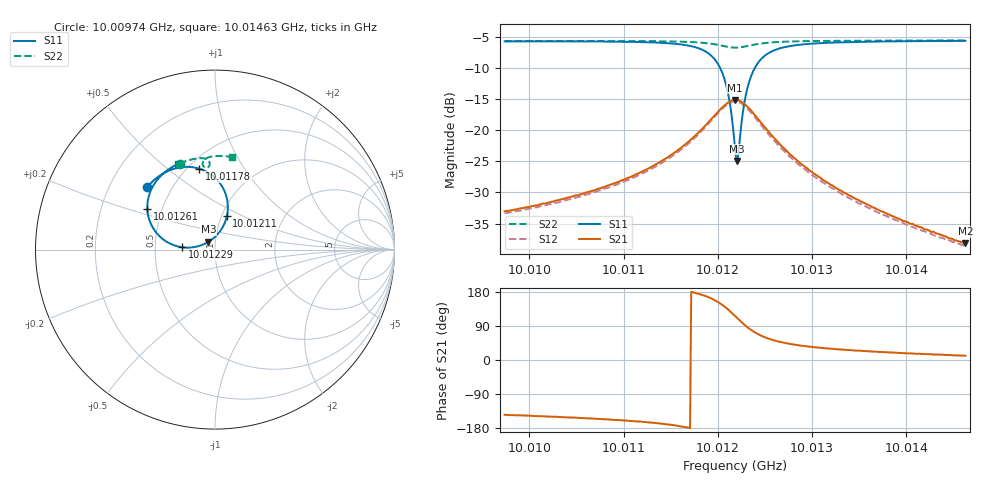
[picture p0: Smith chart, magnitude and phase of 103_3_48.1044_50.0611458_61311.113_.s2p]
#  HZ  S  RI  R  50.00
! Rohde & Schwarz Vector Network Analyzer
! Rohde-Schwarz,ZNB20-2Port,1311601062101988,3.16
! Created: UTC 12/23/2023, 3:45:00 AM
! freq[Hz]  re:S11  im:S11  re:S21  im:S21  re:S12  im:S12  re:S22  im:S22
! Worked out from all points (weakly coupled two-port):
!   401 points, 10.00974 GHz to 10.01463 GHz, reference 50 ohm
!   highest |S21| = -15.16 dB at 10.01218 GHz (marker M1); lowest = -38.1 dB at 10.01463 GHz (marker M2)
!   lowest |S11| = -24.9 dB at 10.01221 GHz (marker M3), VSWR 1.12, Z = 46.3 + j4.03 ohm
!   |S11| at or under -10 dB: 10.01202 GHz to 10.01239 GHz (369.7 kHz wide, 0.00369 % of centre)
!   |S22| runs from -6.8 to -5.6 dB; largest |S21 - S12| = 0.0082
!   S11 on the Smith chart (normalised r, x): 10.00974 GHz: 0.36, +0.35; 10.01178 GHz: 0.57, +0.65; 10.01211 GHz: 1.06, +0.41; 10.01229 GHz: 0.69, +0.02; 10.01261 GHz: 0.41, +0.23; 10.01463 GHz: 0.43, +0.57
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1.0009736e10  -0.3792 0.3492  -0.0182 -0.0129  -0.0168 -0.0134  -0.1975 0.4793
1.0010555e10  -0.3239 0.4005  -0.0274 -0.0138  -0.0258 -0.0147  -0.1456 0.4983
1.0010971e10  -0.2827 0.4275  -0.0366 -0.0142  -0.0343 -0.0153  -0.1171 0.5053
1.0011375e10  -0.2197 0.4529  -0.0535 -0.0121  -0.0509 -0.0143  -0.0866 0.5093
1.0011779e10  -0.0864 0.4505  -0.0927 0.00677  -0.09 0.00161  -0.0495 0.504
1.0011901e10  -0.0145 0.4124  -0.1124 0.0286  -0.1102 0.022  -0.037 0.4956
1.0011986e10  0.0397 0.3509  -0.1237 0.0576  -0.1234 0.0497  -0.0307 0.485
1.001206e10  0.0702 0.2623  -0.1245 0.093  -0.1255 0.0859  -0.0296 0.4729
1.0012109e10  0.066 0.1851  -0.114 0.121  -0.1164 0.1136  -0.0332 0.4645
1.0012146e10  0.0428 0.1253  -0.0985 0.141  -0.1016 0.1339  -0.0384 0.4594
1.0012182e10  0.000674 0.0714  -0.077 0.1566  -0.0806 0.1498  -0.0454 0.4569
1.0012207e10  -0.0364 0.0434  -0.0601 0.1631  -0.0645 0.1566  -0.0506 0.4565
1.0012219e10  -0.0566 0.0324  -0.0517 0.1651  -0.0561 0.1586  -0.0531 0.4569
1.0012268e10  -0.142 0.0112  -0.018 0.1646  -0.0223 0.1588  -0.0618 0.4613
1.0012292e10  -0.1831 0.0129  -0.00268 0.1601  -0.00698 0.1546  -0.0649 0.4648
1.0012341e10  -0.2533 0.0349  0.022 0.1455  0.0165 0.1405  -0.0688 0.4732
1.0012415e10  -0.3242 0.091  0.0432 0.1186  0.038 0.1149  -0.0683 0.4852
1.001261e10  -0.3771 0.2281  0.0532 0.0652  0.0481 0.0644  -0.0534 0.5053
1.0013002e10  -0.3452 0.3542  0.0379 0.0259  0.0348 0.0263  -0.0191 0.5185
1.0013393e10  -0.305 0.4074  0.0268 0.0133  0.0248 0.0139  0.0108 0.5214
1.0013821e10  -0.2667 0.4409  0.0197 0.0072  0.0184 0.00785  0.041 0.5213
1.0014629e10  -0.2034 0.4793  0.0122 0.00239  0.0114 0.00291  0.095 0.5158
